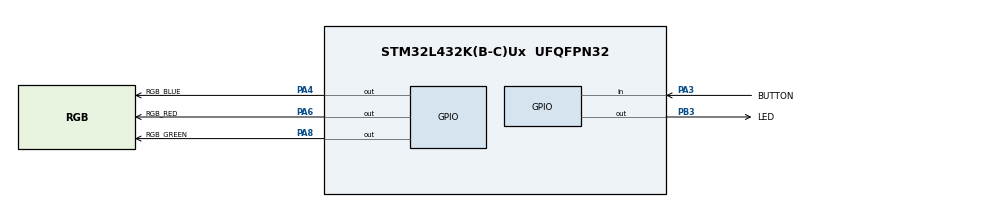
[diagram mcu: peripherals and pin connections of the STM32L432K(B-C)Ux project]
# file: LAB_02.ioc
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Mcu.Family=STM32L4
Mcu.Name=STM32L432K(B-C)Ux
Mcu.Package=UFQFPN32
NVIC.PriorityGroup=NVIC_PRIORITYGROUP_4
PA13\ (JTMS-SWDIO).Mode=Serial_Wire
PA13\ (JTMS-SWDIO).Signal=SYS_JTMS-SWDIO
PA14\ (JTCK-SWCLK).Mode=Serial_Wire
PA14\ (JTCK-SWCLK).Signal=SYS_JTCK-SWCLK
PA3.GPIO_Label=BUTTON
PA3.GPIO_PuPd=GPIO_NOPULL
PA3.Signal=GPIO_Input
PA4.GPIO_Label=RGB_BLUE
PA4.GPIO_Speed=GPIO_SPEED_FREQ_HIGH
PA4.Signal=GPIO_Output
PA6.GPIO_Label=RGB_RED
PA6.GPIO_Speed=GPIO_SPEED_FREQ_HIGH
PA6.Signal=GPIO_Output
PA8.GPIO_Label=RGB_GREEN
PA8.GPIO_Speed=GPIO_SPEED_FREQ_HIGH
PA8.Signal=GPIO_Output
PB3\ (JTDO-TRACESWO).GPIO_Label=LED
PB3\ (JTDO-TRACESWO).Signal=GPIO_Output
ProjectManager.HeapSize=0x200
ProjectManager.StackSize=0x400
ProjectManager.TargetToolchain=STM32CubeIDE
RCC.HSE_VALUE=8000000
RCC.HSI48_VALUE=48000000
RCC.HSI_VALUE=16000000
RCC.LSE_VALUE=32768
RCC.MSI_VALUE=4000000
RCC.VCOOutputFreq_Value=32000000
board=custom

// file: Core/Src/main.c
/* USER CODE BEGIN Header */
/**
  ******************************************************************************
  * @file           : main.c
  * @brief          : Main program body
  ******************************************************************************
  * @attention
  *
  * <h2><center>&copy; Copyright (c) 2021 STMicroelectronics.
  * All rights reserved.</center></h2>
  *
  * This software component is licensed by ST under BSD 3-Clause license,
  * the "License"; You may not use this file except in compliance with the
  * License. You may obtain a copy of the License at:
  *                        opensource.org/licenses/BSD-3-Clause
  *
  ******************************************************************************
  */
/* USER CODE END Header */
#include "main.h"

/* USER CODE BEGIN PM */
#define PERIOD 20
/* USER CODE END PM */

void SystemClock_Config(void);
static void MX_GPIO_Init(void);
/* USER CODE BEGIN PFP */
void duty_cycle(int on_time, GPIO_TypeDef * Port, uint16_t Pin);
void blinky(float brightness, int blink_time, GPIO_TypeDef * Port, uint16_t Pin);
int buttonCheck(int debounce, GPIO_TypeDef * Port, uint16_t Pin);
/* USER CODE END PFP */

int main(void)
{

  /* MCU Configuration--------------------------------------------------------*/

  /* Reset of all peripherals, Initializes the Flash interface and the Systick. */
  HAL_Init();

  /* Configure the system clock */
  SystemClock_Config();

  /* Initialize all configured peripherals */
  MX_GPIO_Init();
  /* USER CODE BEGIN 2 */
  HAL_GPIO_WritePin(RGB_RED_GPIO_Port, RGB_RED_Pin, GPIO_PIN_SET);
  HAL_GPIO_WritePin(RGB_GREEN_GPIO_Port, RGB_GREEN_Pin, GPIO_PIN_SET);
  HAL_GPIO_WritePin(RGB_BLUE_GPIO_Port, RGB_BLUE_Pin, GPIO_PIN_SET);
  int switcher = 0;
  uint16_t currentPin;
  GPIO_TypeDef * currentPort;
//  float brightness = 0.0;
//  int on_time = 1;
  int button_pressed = 1;

  /* USER CODE END 2 */

  /* Infinite loop */
  /* USER CODE BEGIN WHILE */
  while (1)
  {
	  // Switch through the currently active color
	  switch(switcher) {
	  case 0:
		  currentPort = RGB_RED_GPIO_Port;
		  currentPin = RGB_RED_Pin;
		  break;
	  case 1:
		  currentPort = RGB_GREEN_GPIO_Port;
		  currentPin = RGB_GREEN_Pin;
		  break;
	  case 2:
		  currentPort = RGB_BLUE_GPIO_Port;
		  currentPin = RGB_BLUE_Pin;
		  break;
	  }

	  /* BRIGHTNESS-VERSION Begin */
//	  // This is the version where a button press changes brightness
//	  // LED is switched automatically
//	  while(brightness < 1.0) {
//		  // Increase brightness by 1 step with every button press
//		  button_pressed = buttonCheck(5, BUTTON_GPIO_Port, BUTTON_Pin);
//		  if(!button_pressed) {
//			  brightness += 0.1;
//			  on_time = (int) (PERIOD * brightness);
//			  // Wait quarter of a second if brightness changed
//			  // Otherwise it won't be possible to cycle through each level
//			  HAL_Delay(250);
//		  }
//		  duty_cycle(on_time, currentPort, currentPin); // Execute 1 cycle with given on_time
//	  }
//	  // Reset brightness & on_time
//	  brightness = 0.0;
//	  on_time = 1;
	  /* BRIGHTNESS-VERSION End */

	  /* BLINK-VERSION Begin */
	  // This is the version where a button press changes color
	  // The LED blinks for 300ms in total
	  // LED brightness is changed automatically
	  while(button_pressed) {
		  for(float i = 0.0; i < 1.0; i+=0.1) {
			  // I chose 150 milliseconds per ON/OFF because it looked nice
			  // It was a sweet-spot between Button still being recognized quickly
			  // and blinking not being annoyingly fast
			  blinky(i, 150, currentPort, currentPin);
			  button_pressed = buttonCheck(5, BUTTON_GPIO_Port, BUTTON_Pin);
			  if(!button_pressed) {
				  break;
			  }
		  }
	  }
	  // Reset button_pressed to loop next LED
	  button_pressed = 1;
	  /* BLINK-VERSION End */

	  // Turn off all LEDs before switching to the next (won't be visible without delay)
	  HAL_GPIO_WritePin(RGB_RED_GPIO_Port, RGB_RED_Pin, GPIO_PIN_SET);
	  HAL_GPIO_WritePin(RGB_GREEN_GPIO_Port, RGB_GREEN_Pin, GPIO_PIN_SET);
	  HAL_GPIO_WritePin(RGB_BLUE_GPIO_Port, RGB_BLUE_Pin, GPIO_PIN_SET);

	  // Switch to next RGB-Color
	  switcher++;
	  if(switcher >= 3) {
		  switcher = 0;
	  }
    /* USER CODE END WHILE */

  }
}

void SystemClock_Config(void)
{
  RCC_OscInitTypeDef RCC_OscInitStruct = {0};
  RCC_ClkInitTypeDef RCC_ClkInitStruct = {0};

  /** Configure the main internal regulator output voltage
  */
  if (HAL_PWREx_ControlVoltageScaling(PWR_REGULATOR_VOLTAGE_SCALE1) != HAL_OK)
  {
    Error_Handler();
  }
  /** Initializes the RCC Oscillators according to the specified parameters
  * in the RCC_OscInitTypeDef structure.
  */
  RCC_OscInitStruct.OscillatorType = RCC_OSCILLATORTYPE_MSI;
  RCC_OscInitStruct.MSIState = RCC_MSI_ON;
  RCC_OscInitStruct.MSICalibrationValue = 0;
  RCC_OscInitStruct.MSIClockRange = RCC_MSIRANGE_6;
  RCC_OscInitStruct.PLL.PLLState = RCC_PLL_NONE;
  if (HAL_RCC_OscConfig(&RCC_OscInitStruct) != HAL_OK)
  {
    Error_Handler();
  }
  /** Initializes the CPU, AHB and APB buses clocks
  */
  RCC_ClkInitStruct.ClockType = RCC_CLOCKTYPE_HCLK|RCC_CLOCKTYPE_SYSCLK
                              |RCC_CLOCKTYPE_PCLK1|RCC_CLOCKTYPE_PCLK2;
  RCC_ClkInitStruct.SYSCLKSource = RCC_SYSCLKSOURCE_MSI;
  RCC_ClkInitStruct.AHBCLKDivider = RCC_SYSCLK_DIV1;
  RCC_ClkInitStruct.APB1CLKDivider = RCC_HCLK_DIV1;
  RCC_ClkInitStruct.APB2CLKDivider = RCC_HCLK_DIV1;

  if (HAL_RCC_ClockConfig(&RCC_ClkInitStruct, FLASH_LATENCY_0) != HAL_OK)
  {
    Error_Handler();
  }
}

static void MX_GPIO_Init(void)
{
  GPIO_InitTypeDef GPIO_InitStruct = {0};

  /* GPIO Ports Clock Enable */
  __HAL_RCC_GPIOA_CLK_ENABLE();
  __HAL_RCC_GPIOB_CLK_ENABLE();

  /*Configure GPIO pin Output Level */
  HAL_GPIO_WritePin(GPIOA, RGB_BLUE_Pin|RGB_RED_Pin|RGB_GREEN_Pin, GPIO_PIN_RESET);

  /*Configure GPIO pin Output Level */
  HAL_GPIO_WritePin(LED_GPIO_Port, LED_Pin, GPIO_PIN_RESET);

  /*Configure GPIO pin : BUTTON_Pin */
  GPIO_InitStruct.Pin = BUTTON_Pin;
  GPIO_InitStruct.Mode = GPIO_MODE_INPUT;
  GPIO_InitStruct.Pull = GPIO_NOPULL;
  HAL_GPIO_Init(BUTTON_GPIO_Port, &GPIO_InitStruct);

  /*Configure GPIO pins : RGB_BLUE_Pin RGB_RED_Pin RGB_GREEN_Pin */
  GPIO_InitStruct.Pin = RGB_BLUE_Pin|RGB_RED_Pin|RGB_GREEN_Pin;
  GPIO_InitStruct.Mode = GPIO_MODE_OUTPUT_PP;
  GPIO_InitStruct.Pull = GPIO_NOPULL;
  GPIO_InitStruct.Speed = GPIO_SPEED_FREQ_HIGH;
  HAL_GPIO_Init(GPIOA, &GPIO_InitStruct);

  /*Configure GPIO pin : LED_Pin */
  GPIO_InitStruct.Pin = LED_Pin;
  GPIO_InitStruct.Mode = GPIO_MODE_OUTPUT_PP;
  GPIO_InitStruct.Pull = GPIO_NOPULL;
  GPIO_InitStruct.Speed = GPIO_SPEED_FREQ_LOW;
  HAL_GPIO_Init(LED_GPIO_Port, &GPIO_InitStruct);

}

/* USER CODE BEGIN 4 */
void duty_cycle(int on_time, GPIO_TypeDef * Port, uint16_t Pin) {
	// on_time is amount of steps that the LED is on in one period
	// a period is equal to 20 microseconds, which is equal to 50 Hertz
	// By stepping through from 1 to 20, I increase the on-time in one period
	// Effectively increasing the brightness of the LED.

	// This is software Pulse-Width-Modulation
	// IT WON'T be able to replicate REAL PWM
	// Also there might be better ways to do this
	HAL_GPIO_WritePin(Port, Pin, GPIO_PIN_RESET); // LED ON
	HAL_Delay(on_time);
	HAL_GPIO_WritePin(Port, Pin, GPIO_PIN_SET); // LED OFF
	HAL_Delay(PERIOD - on_time);
}
void blinky(float brightness, int blink_time, GPIO_TypeDef * Port, uint16_t Pin) {
	// Brightness is a value from 0.0 to 1.0 => 0% to 100%
	// I use a
	int on_time = (int) (PERIOD * brightness);
	// Calculate amount of cycles to stay ON
	int cycles = blink_time / PERIOD;
	for(int i = 0; i < cycles; i++) {
		duty_cycle(on_time, Port, Pin);
	}
	// Leave LED OFF for the same amount of time
	HAL_Delay(blink_time);
}
int buttonCheck(int debounce, GPIO_TypeDef * Port, uint16_t Pin) {
	// Read the current value from the Button
	int value = HAL_GPIO_ReadPin(Port, Pin);
	// Debounce the button = Wait a bit before returning
	HAL_Delay(debounce);
	return value;
}
/* USER CODE END 4 */

void Error_Handler(void)
{
  __disable_irq();
  while (1)
  {
  }
}

/************************ (C) COPYRIGHT STMicroelectronics *****END OF FILE****/
